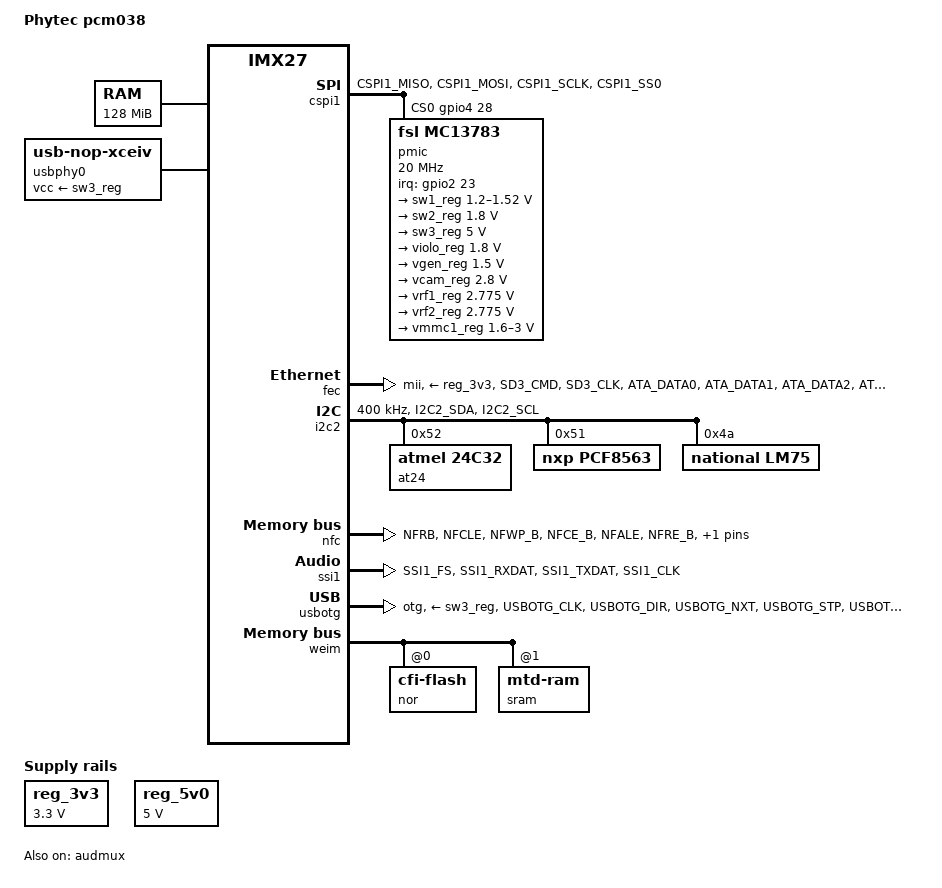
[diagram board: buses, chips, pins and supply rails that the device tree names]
/*
 * Copyright 2012 Sascha Hauer, Pengutronix
 *
 * The code contained herein is licensed under the GNU General Public
 * License. You may obtain a copy of the GNU General Public License
 * Version 2 or later at the following locations:
 *
 * http://www.opensource.org/licenses/gpl-license.html
 * http://www.gnu.org/copyleft/gpl.html
 */

/dts-v1/;
#include "imx27.dtsi"

/ {
	model = "Phytec pcm038";
	compatible = "phytec,imx27-pcm038", "fsl,imx27";

	memory {
		reg = <0xa0000000 0x08000000>;
	};

	regulators {
		compatible = "simple-bus";
		#address-cells = <1>;
		#size-cells = <0>;

		reg_3v3: regulator@0 {
			compatible = "regulator-fixed";
			reg = <0>;
			regulator-name = "3V3";
			regulator-min-microvolt = <3300000>;
			regulator-max-microvolt = <3300000>;
		};

		reg_5v0: regulator@1 {
			compatible = "regulator-fixed";
			reg = <1>;
			regulator-name = "5V0";
			regulator-min-microvolt = <5000000>;
			regulator-max-microvolt = <5000000>;
		};
	};

	usbphy {
		compatible = "simple-bus";
		#address-cells = <1>;
		#size-cells = <0>;

		usbphy0: usbphy@0 {
			compatible = "usb-nop-xceiv";
			reg = <0>;
			vcc-supply = <&sw3_reg>;
			clocks = <&clks IMX27_CLK_DUMMY>;
			clock-names = "main_clk";
		};
	};
};

&audmux {
	status = "okay";

	/* SSI0 <=> PINS_4 (MC13783 Audio) */
	ssi0 {
		fsl,audmux-port = <0>;
		fsl,port-config = <0xcb205000>;
	};

	pins4 {
		fsl,audmux-port = <2>;
		fsl,port-config = <0x00001000>;
	};
};

&cspi1 {
	pinctrl-names = "default";
	pinctrl-0 = <&pinctrl_cspi1>;
	cs-gpios = <&gpio4 28 GPIO_ACTIVE_HIGH>;
	status = "okay";

	pmic: mc13783@0 {
		compatible = "fsl,mc13783";
		pinctrl-names = "default";
		pinctrl-0 = <&pinctrl_pmic>;
		reg = <0>;
		spi-cs-high;
		spi-max-frequency = <20000000>;
		interrupt-parent = <&gpio2>;
		interrupts = <23 IRQ_TYPE_LEVEL_HIGH>;
		fsl,mc13xxx-uses-adc;
		fsl,mc13xxx-uses-rtc;

		pmicleds: leds {
			#address-cells = <1>;
			#size-cells = <0>;
			led-control = <0x001 0x000 0x000 0x000 0x000 0x000>;
		};

		regulators {
			/* SW1A and SW1B joined operation */
			sw1_reg: sw1a {
				regulator-min-microvolt = <1200000>;
				regulator-max-microvolt = <1520000>;
				regulator-always-on;
				regulator-boot-on;
			};

			/* SW2A and SW2B joined operation */
			sw2_reg: sw2a {
				regulator-min-microvolt = <1800000>;
				regulator-max-microvolt = <1800000>;
				regulator-always-on;
				regulator-boot-on;
			};

			sw3_reg: sw3 {
				regulator-min-microvolt = <5000000>;
				regulator-max-microvolt = <5000000>;
				regulator-always-on;
				regulator-boot-on;
			};

			vaudio_reg: vaudio {
				regulator-always-on;
				regulator-boot-on;
			};

			violo_reg: violo {
				regulator-min-microvolt = <1800000>;
				regulator-max-microvolt = <1800000>;
				regulator-always-on;
				regulator-boot-on;
			};

			viohi_reg: viohi {
				regulator-always-on;
				regulator-boot-on;
			};

			vgen_reg: vgen {
				regulator-min-microvolt = <1500000>;
				regulator-max-microvolt = <1500000>;
				regulator-always-on;
				regulator-boot-on;
			};

			vcam_reg: vcam {
				regulator-min-microvolt = <2800000>;
				regulator-max-microvolt = <2800000>;
			};

			vrf1_reg: vrf1 {
				regulator-min-microvolt = <2775000>;
				regulator-max-microvolt = <2775000>;
				regulator-always-on;
				regulator-boot-on;
			};

			vrf2_reg: vrf2 {
				regulator-min-microvolt = <2775000>;
				regulator-max-microvolt = <2775000>;
				regulator-always-on;
				regulator-boot-on;
			};

			vmmc1_reg: vmmc1 {
				regulator-min-microvolt = <1600000>;
				regulator-max-microvolt = <3000000>;
			};

			gpo1_reg: gpo1 { };

			pwgt1spi_reg: pwgt1spi {
				regulator-always-on;
			};
		};
	};
};

&fec {
	phy-mode = "mii";
	phy-reset-gpios = <&gpio3 30 GPIO_ACTIVE_LOW>;
	phy-supply = <&reg_3v3>;
	pinctrl-names = "default";
	pinctrl-0 = <&pinctrl_fec1>;
	status = "okay";
};

&i2c2 {
	clock-frequency = <400000>;
	pinctrl-names = "default";
	pinctrl-0 = <&pinctrl_i2c2>;
	status = "okay";

	at24@52 {
		compatible = "atmel,24c32";
		pagesize = <32>;
		reg = <0x52>;
	};

	pcf8563@51 {
		compatible = "nxp,pcf8563";
		reg = <0x51>;
	};

	lm75@4a {
		compatible = "national,lm75";
		reg = <0x4a>;
	};
};

&iomuxc {
	imx27_phycore_som {
		pinctrl_cspi1: cspi1grp {
			fsl,pins = <
				MX27_PAD_CSPI1_MISO__CSPI1_MISO 0x0
				MX27_PAD_CSPI1_MOSI__CSPI1_MOSI 0x0
				MX27_PAD_CSPI1_SCLK__CSPI1_SCLK 0x0
				MX27_PAD_CSPI1_SS0__GPIO4_28	0x0 /* SPI1 CS0 */
			>;
		};

		pinctrl_fec1: fec1grp {
			fsl,pins = <
				MX27_PAD_SD3_CMD__FEC_TXD0 0x0
				MX27_PAD_SD3_CLK__FEC_TXD1 0x0
				MX27_PAD_ATA_DATA0__FEC_TXD2 0x0
				MX27_PAD_ATA_DATA1__FEC_TXD3 0x0
				MX27_PAD_ATA_DATA2__FEC_RX_ER 0x0
				MX27_PAD_ATA_DATA3__FEC_RXD1 0x0
				MX27_PAD_ATA_DATA4__FEC_RXD2 0x0
				MX27_PAD_ATA_DATA5__FEC_RXD3 0x0
				MX27_PAD_ATA_DATA6__FEC_MDIO 0x0
				MX27_PAD_ATA_DATA7__FEC_MDC 0x0
				MX27_PAD_ATA_DATA8__FEC_CRS 0x0
				MX27_PAD_ATA_DATA9__FEC_TX_CLK 0x0
				MX27_PAD_ATA_DATA10__FEC_RXD0 0x0
				MX27_PAD_ATA_DATA11__FEC_RX_DV 0x0
				MX27_PAD_ATA_DATA12__FEC_RX_CLK 0x0
				MX27_PAD_ATA_DATA13__FEC_COL 0x0
				MX27_PAD_ATA_DATA14__FEC_TX_ER 0x0
				MX27_PAD_ATA_DATA15__FEC_TX_EN 0x0
				MX27_PAD_SSI3_TXDAT__GPIO3_30	0x0 /* FEC RST */
			>;
		};

		pinctrl_i2c2: i2c2grp {
			fsl,pins = <
				MX27_PAD_I2C2_SDA__I2C2_SDA 0x0
				MX27_PAD_I2C2_SCL__I2C2_SCL 0x0
			>;
		};

		pinctrl_nfc: nfcgrp {
			fsl,pins = <
				MX27_PAD_NFRB__NFRB 0x0
				MX27_PAD_NFCLE__NFCLE 0x0
				MX27_PAD_NFWP_B__NFWP_B 0x0
				MX27_PAD_NFCE_B__NFCE_B 0x0
				MX27_PAD_NFALE__NFALE 0x0
				MX27_PAD_NFRE_B__NFRE_B 0x0
				MX27_PAD_NFWE_B__NFWE_B 0x0
			>;
		};

		pinctrl_pmic: pmicgrp {
			fsl,pins = <
				MX27_PAD_USB_PWR__GPIO2_23	0x0 /* PMIC IRQ */
			>;
		};

		pinctrl_ssi1: ssi1grp {
			fsl,pins = <
				MX27_PAD_SSI1_FS__SSI1_FS 0x0
				MX27_PAD_SSI1_RXDAT__SSI1_RXDAT 0x0
				MX27_PAD_SSI1_TXDAT__SSI1_TXDAT 0x0
				MX27_PAD_SSI1_CLK__SSI1_CLK 0x0
			>;
		};

		pinctrl_usbotg: usbotggrp {
			fsl,pins = <
				MX27_PAD_USBOTG_CLK__USBOTG_CLK 0x0
				MX27_PAD_USBOTG_DIR__USBOTG_DIR 0x0
				MX27_PAD_USBOTG_NXT__USBOTG_NXT 0x0
				MX27_PAD_USBOTG_STP__USBOTG_STP 0x0
				MX27_PAD_USBOTG_DATA0__USBOTG_DATA0 0x0
				MX27_PAD_USBOTG_DATA1__USBOTG_DATA1 0x0
				MX27_PAD_USBOTG_DATA2__USBOTG_DATA2 0x0
				MX27_PAD_USBOTG_DATA3__USBOTG_DATA3 0x0
				MX27_PAD_USBOTG_DATA4__USBOTG_DATA4 0x0
				MX27_PAD_USBOTG_DATA5__USBOTG_DATA5 0x0
				MX27_PAD_USBOTG_DATA6__USBOTG_DATA6 0x0
				MX27_PAD_USBOTG_DATA7__USBOTG_DATA7 0x0
			>;
		};
	};
};

&nfc {
	pinctrl-names = "default";
	pinctrl-0 = <&pinctrl_nfc>;
	nand-bus-width = <8>;
	nand-ecc-mode = "hw";
	nand-on-flash-bbt;
	status = "okay";
};

&ssi1 {
	pinctrl-names = "default";
	pinctrl-0 = <&pinctrl_ssi1>;
	status = "okay";
};

&usbotg {
	pinctrl-names = "default";
	pinctrl-0 = <&pinctrl_usbotg>;
	dr_mode = "otg";
	phy_type = "ulpi";
	fsl,usbphy = <&usbphy0>;
	vbus-supply = <&sw3_reg>;
	disable-over-current;
	status = "okay";
};

&weim {
	status = "okay";

	nor: nor@0,0 {
		compatible = "cfi-flash";
		reg = <0 0x00000000 0x02000000>;
		bank-width = <2>;
		linux,mtd-name = "physmap-flash.0";
		fsl,weim-cs-timing = <0x22c2cf00 0x75000d01 0x00000900>;
		#address-cells = <1>;
		#size-cells = <1>;
	};

	sram: sram@1,0 {
		compatible = "mtd-ram";
		reg = <1 0x00000000 0x00800000>;
		bank-width = <2>;
		linux,mtd-name = "mtd-ram.0";
		fsl,weim-cs-timing = <0x0000d843 0x22252521 0x22220a00>;
		#address-cells = <1>;
		#size-cells = <1>;
	};
};
